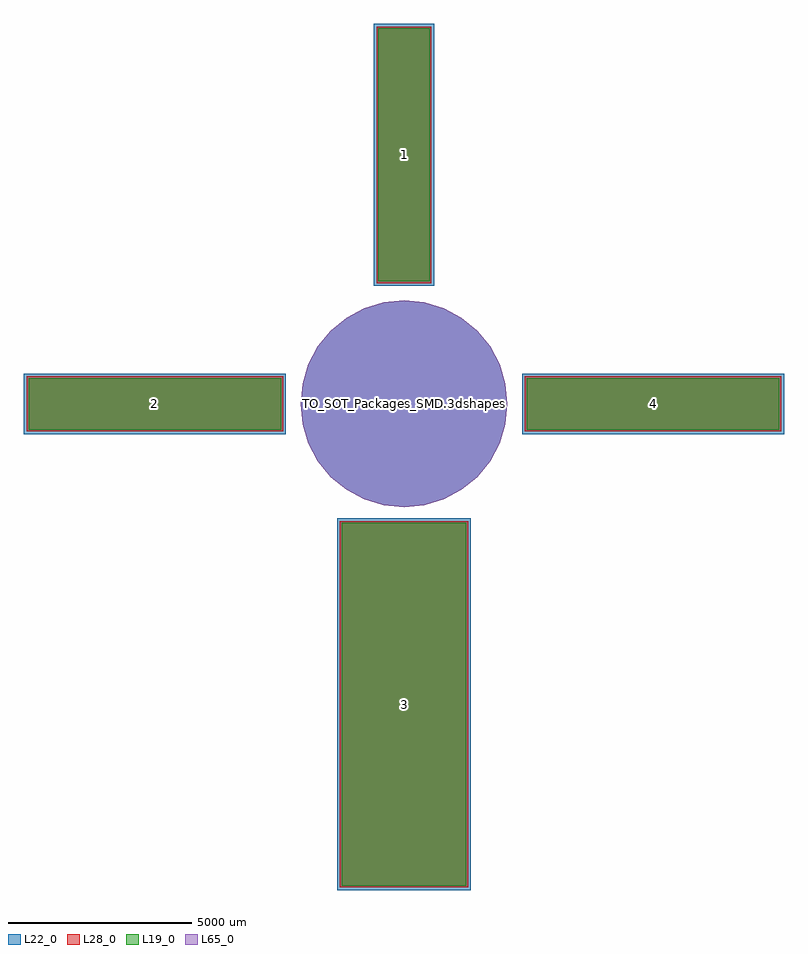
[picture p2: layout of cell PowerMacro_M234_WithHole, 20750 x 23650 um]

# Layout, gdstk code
import gdstk
lib = gdstk.Library(unit=1e-6, precision=1e-09)
def R(c, l, rs):  # rectangles x0, y0, x1, y1
    for r in rs: c.add(gdstk.rectangle(r[:2], r[2:], *l))
def P(c, l, *ps):  # polygons
    for p in ps: c.add(gdstk.Polygon(p, *l))
L19_0 = (19, 0)
L22_0 = (22, 0)
L28_0 = (28, 0)
L65_0 = (65, 0)

powermacro_m234_withhole = lib.new_cell('PowerMacro_M234_WithHole')
R(powermacro_m234_withhole, L19_0, [(-1700,-13150,1700,-3250), (-10250,-700,-3350,700), (3350,-700,10250,700), (-700,3350,700,10250)])
R(powermacro_m234_withhole, L22_0, [(-1825,-13275,1825,-3125), (-10375,-825,-3225,825), (3225,-825,10375,825), (-825,3225,825,10375)])
P(powermacro_m234_withhole, L22_0, [(2825,0),(2770.718,551.13),(2609.96,1081.081),(2348.902,1569.486),(1997.577,1997.577),(1569.486,2348.902),(1081.081,2609.96),(551.13,2770.718),(0,2825),(-551.13,2770.718),(-1081.081,2609.96),(-1569.486,2348.902),(-1997.577,1997.577),(-2348.902,1569.486),(-2609.96,1081.081),(-2770.718,551.13),(-2825,0),(-2770.718,-551.13),(-2609.96,-1081.081),(-2348.902,-1569.486),(-1997.577,-1997.577),(-1569.486,-2348.902),(-1081.081,-2609.96),(-551.13,-2770.718),(0,-2825),(551.13,-2770.718),(1081.081,-2609.96),(1569.486,-2348.902),(1997.577,-1997.577),(2348.902,-1569.486),(2609.96,-1081.081),(2770.718,-551.13)])
R(powermacro_m234_withhole, L28_0, [(-1750,-13200,1750,-3200), (-10300,-750,-3300,750), (3300,-750,10300,750), (-750,3300,750,10300)])
P(powermacro_m234_withhole, L65_0, [(2825,0),(2770.718,551.13),(2609.96,1081.081),(2348.902,1569.486),(1997.577,1997.577),(1569.486,2348.902),(1081.081,2609.96),(551.13,2770.718),(0,2825),(-551.13,2770.718),(-1081.081,2609.96),(-1569.486,2348.902),(-1997.577,1997.577),(-2348.902,1569.486),(-2609.96,1081.081),(-2770.718,551.13),(-2825,0),(-2770.718,-551.13),(-2609.96,-1081.081),(-2348.902,-1569.486),(-1997.577,-1997.577),(-1569.486,-2348.902),(-1081.081,-2609.96),(-551.13,-2770.718),(0,-2825),(551.13,-2770.718),(1081.081,-2609.96),(1569.486,-2348.902),(1997.577,-1997.577),(2348.902,-1569.486),(2609.96,-1081.081),(2770.718,-551.13)])
powermacro_m234_withhole.add(gdstk.Label('TO_SOT_Packages_SMD.3dshapes/PowerMacro_M234_WithHole.wrl', (0,0), layer=12, texttype=0))
powermacro_m234_withhole.add(gdstk.Label('4', (6800,0), layer=28, texttype=0))
powermacro_m234_withhole.add(gdstk.Label('3', (0,-8200), layer=28, texttype=0))
powermacro_m234_withhole.add(gdstk.Label('2', (-6800,0), layer=28, texttype=0))
powermacro_m234_withhole.add(gdstk.Label('1', (0,6800), layer=28, texttype=0))
powermacro_m234_withhole.add(gdstk.Label('type', (150,-17250), layer=9, texttype=0))
powermacro_m234_withhole.add(gdstk.Label('devicename', (-150,15950), layer=9, texttype=0))

lib.write_gds('PowerMacro_M234_WithHole.gds')
